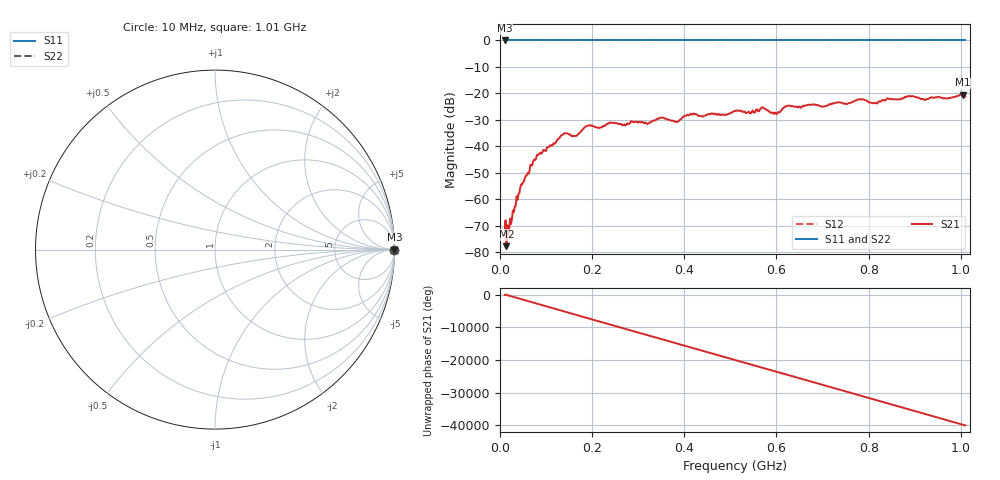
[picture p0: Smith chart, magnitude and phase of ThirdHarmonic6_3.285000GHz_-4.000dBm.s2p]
! 8/17/2025 10:11:57 AM
! C:\ANRITSUVNA\TEMP\TEMP.S2P
! CHANNEL.1
! TR.MEASUREMENT
! RAW.DATA
! RF.CORRECTION.OFF
! AVERAGING.OFF
! IF.BANDWIDTH: 5KHZ
! SWEEPTYPE:  FREQ.SWEEP(Linear)
! Reference Plane Port Info
! PORT:  PORT1  PORT2
! DISTANCE:  0  m  0  m
! TIME:  0  s  0  s
! PHASE.OFFSET:  0  deg.  0  deg.
! LOSS:  0  dB  0  dB
! REF.LOSS:  0  dB  0  dB
! REF.FREQ:  0  Hz  0  Hz
! Power Info
! POWER:  -20  dBm  -20  dBm
! EFF.POWER:  -20  dBm  -20  dBm
! SOURCE.ATTEN:  0  dB  0  dB
! TEST.ATTEN:  0  dB  0  dB
# GHZ S RI R 50.0
! FREQ.GHZ  S11RE  S11IM  S21RE  S21IM  S12RE  S12IM  S22RE  S22IM
!; PortSelection: Port_12
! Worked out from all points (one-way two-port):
!   501 points, 10 MHz to 1.01 GHz, reference 50 ohm
!   highest |S21| = -20.52 dB at 1.004 GHz (marker M1); lowest = -77.8 dB at 14 MHz (marker M2)
!   lowest |S11| = 0.0 dB at 10 MHz (marker M3)
!   |S11| at or under -10 dB: nowhere
!   |S22| runs from 0.0 to 0.0 dB; largest |S21 - S12| = 1.1
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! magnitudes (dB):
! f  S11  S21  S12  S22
! 10 MHz  0.0  -73.5  0.0  0.0
! 14 MHz  0.0  -77.8  0.0  0.0
! 22 MHz  0.0  -67.4  0.0  0.0
! 44 MHz  0.0  -55.6  0.0  0.0
! 76 MHz  0.0  -45.2  0.0  0.0
! 136 MHz  0.0  -35.7  0.0  0.0
! 164 MHz  0.0  -36.1  0.0  0.0
! 178 MHz  0.0  -33.9  0.0  0.0
! 192 MHz  0.0  -32.2  0.0  0.0
! 322 MHz  0.0  -31.4  0.0  0.0
! 344 MHz  0.0  -29.7  0.0  0.0
! 384 MHz  0.0  -30.7  0.0  0.0
! 418 MHz  0.0  -28.0  0.0  0.0
! 510 MHz  0.0  -26.6  0.0  0.0
! 570 MHz  0.0  -25.3  0.0  0.0
! 598 MHz  0.0  -27.3  0.0  0.0
! 622 MHz  0.0  -25.0  0.0  0.0
! 678 MHz  0.0  -24.2  0.0  0.0
! 814 MHz  0.0  -23.6  0.0  0.0
! 844 MHz  0.0  -22.1  0.0  0.0
! 1.004 GHz  0.0  -20.5  0.0  0.0
! 1.01 GHz  0.0  -21.2  0.0  0.0
